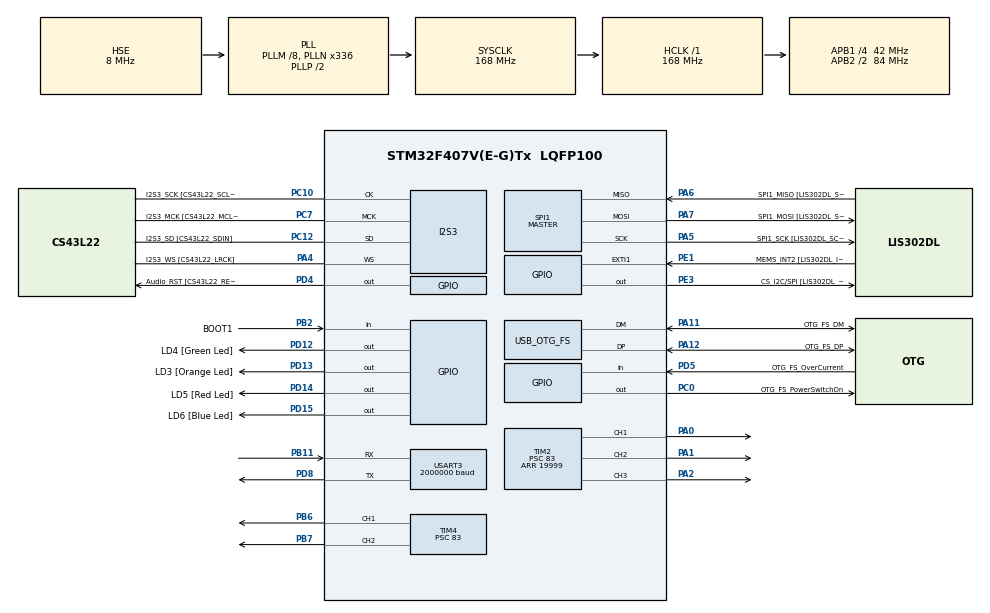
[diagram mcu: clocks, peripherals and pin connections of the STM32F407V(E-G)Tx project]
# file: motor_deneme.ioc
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I2S3.AudioFreq-Half_Duplex_Master=I2S_AUDIOFREQ_96K
I2S3.ErrorAudioFreq=-2.34 %
I2S3.ErrorAudioFreq-Half_Duplex_Master=0.8 %
I2S3.FullDuplexMode=I2S_FULLDUPLEXMODE_DISABLE
I2S3.Instance=SPI$Index
I2S3.RealAudioFreq=93.75 KHz
I2S3.RealAudioFreq-Half_Duplex_Master=96.774 KHz
I2S3.VirtualMode=I2S_MODE_MASTER
Mcu.Family=STM32F4
Mcu.Name=STM32F407V(E-G)Tx
Mcu.Package=LQFP100
NVIC.OTG_FS_IRQn=true\:0\:0\:false\:false\:true\:true\:true\:true
NVIC.PriorityGroup=NVIC_PRIORITYGROUP_0
NVIC.USART3_IRQn=true\:0\:0\:false\:false\:true\:true\:true\:true
PA0-WKUP.Signal=S_TIM2_CH1_ETR
PA1.Signal=S_TIM2_CH2
PA10.GPIO_Label=OTG_FS_ID
PA10.GPIO_Mode=GPIO_MODE_AF_PP
PA10.GPIO_PuPd=GPIO_NOPULL
PA10.GPIO_Speed=GPIO_SPEED_FREQ_LOW
PA10.Signal=USB_OTG_FS_ID
PA11.GPIO_Label=OTG_FS_DM
PA11.GPIO_Mode=GPIO_MODE_AF_PP
PA11.GPIO_PuPd=GPIO_NOPULL
PA11.GPIO_Speed=GPIO_SPEED_FREQ_LOW
PA11.Mode=Device_Only
PA11.Signal=USB_OTG_FS_DM
PA12.GPIO_Label=OTG_FS_DP
PA12.GPIO_Mode=GPIO_MODE_AF_PP
PA12.GPIO_PuPd=GPIO_NOPULL
PA12.GPIO_Speed=GPIO_SPEED_FREQ_LOW
PA12.Mode=Device_Only
PA12.Signal=USB_OTG_FS_DP
PA13.GPIO_Label=SWDIO
PA13.Mode=Serial_Wire
PA13.Signal=SYS_JTMS-SWDIO
PA14.GPIO_Label=SWCLK
PA14.Mode=Serial_Wire
PA14.Signal=SYS_JTCK-SWCLK
PA2.Signal=S_TIM2_CH3
PA4.GPIO_Label=I2S3_WS [CS43L22_LRCK]
PA4.GPIO_Mode=GPIO_MODE_AF_PP
PA4.GPIO_PuPd=GPIO_NOPULL
PA4.GPIO_Speed=GPIO_SPEED_FREQ_LOW
PA4.Mode=Half_Duplex_Master
PA4.Signal=I2S3_WS
PA5.GPIO_Label=SPI1_SCK [LIS302DL_SCL/SPC]
PA5.GPIO_Mode=GPIO_MODE_AF_PP
PA5.GPIO_PuPd=GPIO_NOPULL
PA5.GPIO_Speed=GPIO_SPEED_FREQ_LOW
PA5.Mode=Full_Duplex_Master
PA5.Signal=SPI1_SCK
PA6.GPIO_Label=SPI1_MISO [LIS302DL_SDO]
PA6.GPIO_Mode=GPIO_MODE_AF_PP
PA6.GPIO_PuPd=GPIO_NOPULL
PA6.GPIO_Speed=GPIO_SPEED_FREQ_LOW
PA6.Mode=Full_Duplex_Master
PA6.Signal=SPI1_MISO
PA7.GPIO_Label=SPI1_MOSI [LIS302DL_SDA/SDI/SDO]
PA7.GPIO_Mode=GPIO_MODE_AF_PP
PA7.GPIO_PuPd=GPIO_NOPULL
PA7.GPIO_Speed=GPIO_SPEED_FREQ_LOW
PA7.Mode=Full_Duplex_Master
PA7.Signal=SPI1_MOSI
PA9.GPIO_Label=VBUS_FS
PA9.GPIO_Mode=GPIO_MODE_INPUT
PA9.GPIO_PuPd=GPIO_NOPULL
PA9.Signal=USB_OTG_FS_VBUS
PB10.GPIO_Label=CLK_IN [MP45DT02_CLK]
PB10.GPIO_Mode=GPIO_MODE_AF_PP
PB10.GPIO_PuPd=GPIO_NOPULL
PB10.GPIO_Speed=GPIO_SPEED_FREQ_LOW
PB10.Signal=I2S2_CK
PB11.Mode=Asynchronous
PB11.Signal=USART3_RX
PB2.GPIO_Label=BOOT1
PB2.GPIO_Mode=GPIO_MODE_INPUT
PB2.GPIO_PuPd=GPIO_NOPULL
PB2.Signal=GPIO_Input
PB3.GPIO_Label=SWO
PB3.Signal=SYS_JTDO-SWO
PB6.Signal=S_TIM4_CH1
PB7.Signal=S_TIM4_CH2
PB9.GPIO_Label=Audio_SDA [CS43L22_SDA]
PB9.GPIO_Mode=GPIO_MODE_AF_OD
PB9.GPIO_Pu=GPIO_PULLUP
PB9.GPIO_PuPd=GPIO_NOPULL
PB9.GPIO_Speed=GPIO_SPEED_FREQ_LOW
PB9.Signal=I2C1_SDA
PC0.GPIO_Label=OTG_FS_PowerSwitchOn
PC0.GPIO_PuPd=GPIO_NOPULL
PC0.GPIO_Speed=GPIO_SPEED_FREQ_LOW
PC0.PinState=GPIO_PIN_SET
PC0.Signal=GPIO_Output
PC10.GPIO_Label=I2S3_SCK [CS43L22_SCLK]
PC10.GPIO_Mode=GPIO_MODE_AF_PP
PC10.GPIO_PuPd=GPIO_NOPULL
PC10.GPIO_Speed=GPIO_SPEED_FREQ_LOW
PC10.Mode=Half_Duplex_Master
PC10.Signal=I2S3_CK
PC12.GPIO_Label=I2S3_SD [CS43L22_SDIN]
PC12.GPIO_Mode=GPIO_MODE_AF_PP
PC12.GPIO_PuPd=GPIO_NOPULL
PC12.GPIO_Speed=GPIO_SPEED_FREQ_LOW
PC12.Mode=Half_Duplex_Master
PC12.Signal=I2S3_SD
PC14-OSC32_IN.GPIO_Label=PC14-OSC32_IN
PC14-OSC32_IN.Mode=LSE-External-Oscillator
PC14-OSC32_IN.Signal=RCC_OSC32_IN
PC15-OSC32_OUT.GPIO_Label=PC15-OSC32_OUT
PC15-OSC32_OUT.Mode=LSE-External-Oscillator
PC15-OSC32_OUT.Signal=RCC_OSC32_OUT
PC3.GPIO_Label=PDM_OUT [MP45DT02_DOUT]
PC3.GPIO_Mode=GPIO_MODE_AF_PP
PC3.GPIO_PuPd=GPIO_NOPULL
PC3.GPIO_Speed=GPIO_SPEED_FREQ_LOW
PC3.Signal=I2S2_SD
PC7.GPIO_Label=I2S3_MCK [CS43L22_MCLK]
PC7.GPIO_Mode=GPIO_MODE_AF_PP
PC7.GPIO_PuPd=GPIO_NOPULL
PC7.GPIO_Speed=GPIO_SPEED_FREQ_LOW
PC7.Mode=Master_Clock_Activated
PC7.Signal=I2S3_MCK
PD12.GPIO_Label=LD4 [Green Led]
PD12.GPIO_PuPd=GPIO_NOPULL
PD12.GPIO_Speed=GPIO_SPEED_FREQ_LOW
PD12.Signal=GPIO_Output
PD13.GPIO_Label=LD3 [Orange Led]
PD13.GPIO_PuPd=GPIO_NOPULL
PD13.GPIO_Speed=GPIO_SPEED_FREQ_LOW
PD13.Signal=GPIO_Output
PD14.GPIO_Label=LD5 [Red Led]
PD14.GPIO_PuPd=GPIO_NOPULL
PD14.GPIO_Speed=GPIO_SPEED_FREQ_LOW
PD14.Signal=GPIO_Output
PD15.GPIO_Label=LD6 [Blue Led]
PD15.GPIO_PuPd=GPIO_NOPULL
PD15.GPIO_Speed=GPIO_SPEED_FREQ_LOW
PD15.Signal=GPIO_Output
PD4.GPIO_Label=Audio_RST [CS43L22_RESET]
PD4.GPIO_PuPd=GPIO_NOPULL
PD4.GPIO_Speed=GPIO_SPEED_FREQ_LOW
PD4.Signal=GPIO_Output
PD5.GPIO_Label=OTG_FS_OverCurrent
PD5.GPIO_Mode=GPIO_MODE_INPUT
PD5.GPIO_PuPd=GPIO_NOPULL
PD5.Signal=GPIO_Input
PD8.Mode=Asynchronous
PD8.Signal=USART3_TX
PE1.GPIO_Label=MEMS_INT2 [LIS302DL_INT2]
PE1.GPIO_ModeDefaultEXTI=GPIO_MODE_EVT_RISING
PE1.GPIO_PuPd=GPIO_NOPULL
PE1.Signal=GPXTI1
PE3.GPIO_Label=CS_I2C/SPI [LIS302DL_CS_I2C/SPI]
PE3.GPIO_PuPd=GPIO_NOPULL
PE3.GPIO_Speed=GPIO_SPEED_FREQ_LOW
PE3.Signal=GPIO_Output
PH0-OSC_IN.GPIO_Label=PH0-OSC_IN
PH0-OSC_IN.Mode=HSE-External-Oscillator
PH0-OSC_IN.Signal=RCC_OSC_IN
PH1-OSC_OUT.GPIO_Label=PH1-OSC_OUT
PH1-OSC_OUT.Mode=HSE-External-Oscillator
PH1-OSC_OUT.Signal=RCC_OSC_OUT
ProjectManager.HeapSize=0x4000
ProjectManager.StackSize=0x800
ProjectManager.TargetToolchain=STM32CubeIDE
RCC.48MHZClocksFreq_Value=48000000
RCC.AHBFreq_Value=168000000
RCC.APB1CLKDivider=RCC_HCLK_DIV4
RCC.APB1Freq_Value=42000000
RCC.APB1TimFreq_Value=84000000
RCC.APB2CLKDivider=RCC_HCLK_DIV2
RCC.APB2Freq_Value=84000000
RCC.APB2TimFreq_Value=168000000
RCC.CortexFreq_Value=168000000
RCC.HCLKFreq_Value=168000000
RCC.HSE_VALUE=8000000
RCC.HSI_VALUE=16000000
RCC.PLLM=8
RCC.PLLN=336
RCC.PLLQ=7
RCC.SYSCLKFreq_VALUE=168000000
RCC.SYSCLKSource=RCC_SYSCLKSOURCE_PLLCLK
RCC.VCOOutputFreq_Value=336000000
SH.S_TIM2_CH1_ETR.0=TIM2_CH1,PWM Generation1 CH1
SH.S_TIM2_CH2.0=TIM2_CH2,PWM Generation2 CH2
SH.S_TIM2_CH3.0=TIM2_CH3,PWM Generation3 CH3
SH.S_TIM4_CH1.0=TIM4_CH1,PWM Generation1 CH1
SH.S_TIM4_CH2.0=TIM4_CH2,PWM Generation2 CH2
SPI1.BaudRatePrescaler-Full_Duplex_Master=SPI_BAUDRATEPRESCALER_2
SPI1.CalculateBaudRate-Full_Duplex_Master=42.0 MBits/s
SPI1.Direction=SPI_DIRECTION_2LINES
SPI1.Mode=SPI_MODE_MASTER
SPI1.Mode-Full_Duplex_Master=SPI_MODE_MASTER
SPI1.VirtualType=VM_MASTER
STMicroelectronics.X-CUBE-AI.10.2.0.ActivationBufferSizeList=27412
STMicroelectronics.X-CUBE-AI.10.2.0.ActivationBuffers=pool0
STMicroelectronics.X-CUBE-AI.10.2.0.ActivationNames=pool0
STMicroelectronics.X-CUBE-AI.10.2.0.ActivationSizes=AI_YUZMODEL_DATA_ACTIVATION_1_SIZE
STMicroelectronics.X-CUBE-AI.10.2.0.HeapSize=0x4000
STMicroelectronics.X-CUBE-AI.10.2.0.InternalRamActivationBufferMaxSize=AI_YUZMODEL_DATA_ACTIVATIONS_SIZE
STMicroelectronics.X-CUBE-AI.10.2.0.LatestDirectoryUsed-f014132b497c35ad384f7facde893638db3048d57b4c16b318305008997cb684=C\:\\Users\\yavuz\\Downloads
STMicroelectronics.X-CUBE-AI.10.2.0.MaximumNumberOfInputLayer=1
STMicroelectronics.X-CUBE-AI.10.2.0.MaximumNumberOfOutputLayer=1
STMicroelectronics.X-CUBE-AI.10.2.0.MaximumSizeOfInputLayer=1
STMicroelectronics.X-CUBE-AI.10.2.0.MaximumSizeOfOutputLayer=1,1
STMicroelectronics.X-CUBE-AI.10.2.0.ModelActualCompression-f014132b497c35ad384f7facde893638db3048d57b4c16b318305008997cb684=0.0
STMicroelectronics.X-CUBE-AI.10.2.0.ModelCompression-f014132b497c35ad384f7facde893638db3048d57b4c16b318305008997cb684=None
STMicroelectronics.X-CUBE-AI.10.2.0.ModelFlashOccupation-f014132b497c35ad384f7facde893638db3048d57b4c16b318305008997cb684=42974
STMicroelectronics.X-CUBE-AI.10.2.0.ModelHashList=f014132b497c35ad384f7facde893638db3048d57b4c16b318305008997cb684
STMicroelectronics.X-CUBE-AI.10.2.0.ModelKind-f014132b497c35ad384f7facde893638db3048d57b4c16b318305008997cb684=TFLITE
STMicroelectronics.X-CUBE-AI.10.2.0.ModelMacc-f014132b497c35ad384f7facde893638db3048d57b4c16b318305008997cb684=4095162
STMicroelectronics.X-CUBE-AI.10.2.0.ModelName-f014132b497c35ad384f7facde893638db3048d57b4c16b318305008997cb684=yuzmodel
STMicroelectronics.X-CUBE-AI.10.2.0.ModelNameList=yuzmodel
STMicroelectronics.X-CUBE-AI.10.2.0.ModelRamOccupation-f014132b497c35ad384f7facde893638db3048d57b4c16b318305008997cb684=27412
STMicroelectronics.X-CUBE-AI.10.2.0.ModelStructureFile-f014132b497c35ad384f7facde893638db3048d57b4c16b318305008997cb684=C\:\\Users\\yavuz\\Downloads\\yuz_takip_modeli (1).tflite
STMicroelectronics.X-CUBE-AI.10.2.0.ModelType-f014132b497c35ad384f7facde893638db3048d57b4c16b318305008997cb684=STM32Cube.AI MCU runtime
STMicroelectronics.X-CUBE-AI.10.2.0.ReadyForCodeGeneration=true
STMicroelectronics.X-CUBE-AI.10.2.0.StackSize=0x800
STMicroelectronics.X-CUBE-AI.10.2.0.WorkingBufferStartAddrList=0xFFFFFFFF
STMicroelectronics.X-CUBE-AI.10.2.0.XAaCUBEAaAICcArtificialOoIntelligenceJjCore=true
STMicroelectronics.X-CUBE-AI.10.2.0.copyWeightToRam=false
STMicroelectronics.X-CUBE-AI.10.2.0.customLayerConfigEnabled=false
STMicroelectronics.X-CUBE-AI.10.2.0.noOnnxIoTranspose=false
STMicroelectronics.X-CUBE-AI.10.2.0.useInputAllocation=true
STMicroelectronics.X-CUBE-AI.10.2.0.useOutputAllocation=true
TIM2.Channel-PWM\ Generation1\ CH1=TIM_CHANNEL_1
TIM2.Channel-PWM\ Generation2\ CH2=TIM_CHANNEL_2
TIM2.Channel-PWM\ Generation3\ CH3=TIM_CHANNEL_3
TIM2.Period=19999
TIM2.Prescaler=83
TIM4.Channel-PWM\ Generation1\ CH1=TIM_CHANNEL_1
TIM4.Channel-PWM\ Generation2\ CH2=TIM_CHANNEL_2
TIM4.Prescaler=83
USART3.BaudRate=2000000
USART3.VirtualMode=VM_ASYNC
USB_DEVICE.CLASS_NAME_FS=CDC
USB_DEVICE.VirtualMode-CDC_FS=Cdc
USB_DEVICE.VirtualModeFS=Cdc_FS
USB_OTG_FS.VirtualMode=Device_Only
VP_STMicroelectronics.X-CUBE-AI_VS_ArtificialOoIntelligenceJjXAaCUBEAaAI_10.2.0.Mode=ArtificialOoIntelligenceJjXAaCUBEAaAI
VP_TIM2_VS_ClockSourceINT.Mode=Internal
VP_TIM4_VS_ClockSourceINT.Mode=Internal
VP_USB_DEVICE_VS_USB_DEVICE_CDC_FS.Mode=CDC_FS
board=STM32F407G-DISC1

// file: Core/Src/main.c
/* USER CODE BEGIN Header */
/**
  ******************************************************************************
  * @file           : main.c
  * @brief          : Main program body for 3-Axis Face-Tracking Gimbal
  * @author         : Yavuzhan Melek
  * @description    : Implements a closed-loop face tracking system. Detects a
  *                   human face (via ESP32-CAM) and calculates center coordinates.
  *                   Determines positional error relative to the camera's center
  *                   point. Uses PWM signals to autonomously drive servo motors
  *                   to minimize error, continuously keeping the face centered.
  ******************************************************************************
  * @attention
  *
  * Copyright (c) 2026 STMicroelectronics.
  * All rights reserved.
  *
  ******************************************************************************
  */
/* USER CODE END Header */
#include "main.h"
#include "usb_device.h"

/* USER CODE BEGIN Includes */
#include <stdio.h>
#include <string.h>
#include "usbd_cdc_if.h" // For transmitting debugging data via USB

// Edge AI Model includes (Ensure model name matches the generated AI files)
#include "ai_platform.h"
#include "yuzmodel.h"
#include "yuzmodel_data.h"
/* USER CODE END Includes */

I2S_HandleTypeDef hi2s3;
SPI_HandleTypeDef hspi1;
TIM_HandleTypeDef htim2;
TIM_HandleTypeDef htim4;
UART_HandleTypeDef huart3;

/* USER CODE BEGIN PV */
uint8_t size_buffer[4]; // Buffer for UART payload size (4 bytes)

// 96x96x1 grayscale image buffer (No volatile needed as it's not modified inside ISR)
static uint8_t image_buffer[9216];

uint8_t sync_byte = 0;
uint32_t loop_counter = 0;

// AI Model Variables
ai_handle yuzmodel = AI_HANDLE_NULL;
ai_network_report report;
ai_error err;

// Model is INT8 quantized to fit RAM constraints. Inputs/Outputs must be ai_i8.
static ai_u8 activations[AI_YUZMODEL_DATA_ACTIVATIONS_SIZE];
static ai_i8 in_data[AI_YUZMODEL_IN_1_SIZE_BYTES];

// Output buffer is sized for two distinct outputs (Coordinates and Probability)
static ai_i8 out_data_int8[AI_YUZMODEL_OUT_1_SIZE_BYTES + AI_YUZMODEL_OUT_2_SIZE_BYTES];

// AI buffers definition (initialized in main)
ai_buffer ai_input[AI_YUZMODEL_IN_NUM];
ai_buffer ai_output[AI_YUZMODEL_OUT_NUM];

// --- Servo Configuration ---
// TIM2: Prescaler=83, Period=19999 -> 50Hz PWM, 1 tick = 1us
#define SERVO_MIN_US   500    // 0 degrees
#define SERVO_MAX_US   2500   // 180 degrees
#define SERVO_MID_US   1500   // 90 degrees (center)

// Smoothing alpha (0.0-1.0). Lower means smoother/slower movement.
#define SMOOTH_ALPHA   0.15f

// Target center in the frame (0.5, 0.5) - model outputs coordinates between 0.0-1.0
#define TARGET_CX      0.5f
#define TARGET_CY      0.5f

// Deadzone to prevent servo jitter when error is very small
#define DEADZONE       0.03f

// Current servo positions in microseconds
static float servo_x_us = SERVO_MID_US;
static float servo_y_us = 300.0f;
/* USER CODE END PV */

void SystemClock_Config(void);
static void MX_GPIO_Init(void);
static void MX_I2S3_Init(void);
static void MX_SPI1_Init(void);
static void MX_TIM2_Init(void);
static void MX_TIM4_Init(void);
static void MX_USART3_UART_Init(void);
/* USER CODE BEGIN PFP */

// --- Helper: Float Clamp ---
static inline float clamp_f(float v, float lo, float hi) {
    if (v < lo) return lo;
    if (v > hi) return hi;
    return v;
}

// --- Convert normalized coordinate to servo PWM (us) ---
// norm: 0.0 (top/left) -> 1.0 (bottom/right)
// invert: set to 1 to reverse axis direction
static float coord_to_us(float norm, uint8_t invert) {
    if (invert) norm = 1.0f - norm;
    float us = SERVO_MIN_US + norm * (SERVO_MAX_US - SERVO_MIN_US);
    return clamp_f(us, SERVO_MIN_US, SERVO_MAX_US);
}

// --- Update Servo PWM ---
static void servo_set(float x_us, float y_us) {
    uint32_t x = (uint32_t)clamp_f(x_us, SERVO_MIN_US, SERVO_MAX_US);
    uint32_t y = (uint32_t)clamp_f(y_us, 0.0f, 700.0f);
    __HAL_TIM_SET_COMPARE(&htim2, TIM_CHANNEL_1, x);
    __HAL_TIM_SET_COMPARE(&htim2, TIM_CHANNEL_2, y);
}
/* USER CODE END PFP */

int main(void)
{
  /* MCU Configuration--------------------------------------------------------*/
  /* Reset of all peripherals, Initializes the Flash interface and the Systick. */
  HAL_Init();

  /* Configure the system clock */
  SystemClock_Config();

  /* Initialize all configured peripherals */
  MX_GPIO_Init();
  MX_I2S3_Init();
  MX_SPI1_Init();
  MX_TIM2_Init();
  MX_TIM4_Init();
  MX_USART3_UART_Init();
  MX_USB_DEVICE_Init();

  /* USER CODE BEGIN 2 */
  // --- Neural Network Initialization ---
  err = ai_yuzmodel_create(&yuzmodel, AI_YUZMODEL_DATA_CONFIG);
  if (err.type != AI_ERROR_NONE) {
      while(1) {}
  }

  ai_network_params params;
  if (!ai_yuzmodel_data_params_get(&params)) {
      while(1) {}
  }

  // Link activation buffer directly in this version
  AI_BUFFER_ARRAY_ITEM_SET_ADDRESS(&params.map_activations, 0, activations);

  // Initialize Model with parameters
  if (!ai_yuzmodel_init(yuzmodel, &params)) {
      while(1) {}
  }

  // Read Model Report/Metadata
  ai_yuzmodel_get_report(yuzmodel, &report);

  // Map Input/Output buffers
  ai_buffer* tmp_in  = ai_yuzmodel_inputs_get(yuzmodel, NULL);
  ai_buffer* tmp_out = ai_yuzmodel_outputs_get(yuzmodel, NULL);

  ai_input[0]  = *tmp_in;
  ai_input[0].data  = (ai_handle)in_data;

  ai_output[0] = tmp_out[0];
  ai_output[1] = tmp_out[1];

  ai_output[0].data = (ai_handle)out_data_int8;
  ai_output[1].data = (ai_handle)(out_data_int8 + AI_YUZMODEL_OUT_1_SIZE_BYTES);

  // --- Start Servo PWM (Center position) ---
  HAL_TIM_PWM_Start(&htim2, TIM_CHANNEL_1);  // X axis
  HAL_TIM_PWM_Start(&htim2, TIM_CHANNEL_2);  // Y axis
  servo_set(servo_x_us, servo_y_us);
  HAL_Delay(500); // Wait for servos to reach center
  /* USER CODE END 2 */

  /* Infinite loop */
  /* USER CODE BEGIN WHILE */
  while (1)
  {
      // 1. RESET UART LINE AT START OF EVERY LOOP
      // Clear UART error flags if an overrun occurs
      if (__HAL_UART_GET_FLAG(&huart3, UART_FLAG_ORE) != RESET) {
          __HAL_UART_CLEAR_OREFLAG(&huart3);
          HAL_UART_AbortReceive(&huart3);
      }

      uint8_t sync_buf[4] = {0};
      uint8_t b = 0;
      uint8_t found = 0;
      uint32_t gray_size = 0;

      // Await synchronization sequence (0xAA 0xBB 0xCC 0xDD)
      for (int attempt = 0; attempt < 20000; attempt++) {
          if (HAL_UART_Receive(&huart3, &b, 1, 2) != HAL_OK) continue;
          sync_buf[0] = sync_buf[1];
          sync_buf[1] = sync_buf[2];
          sync_buf[2] = sync_buf[3];
          sync_buf[3] = b;
          if (sync_buf[0]==0xAA && sync_buf[1]==0xBB &&
              sync_buf[2]==0xCC && sync_buf[3]==0xDD) {
              found = 1;
              break;
          }
      }

      if (found) {
          uint8_t size_buf[4];
          if (HAL_UART_Receive(&huart3, size_buf, 4, 100) == HAL_OK) {
              gray_size = size_buf[0] | (size_buf[1]<<8) |
                          (size_buf[2]<<16) | (size_buf[3]<<24);

              if (gray_size == 9216) {  // 96x96x1 grayscale validation
                  if (HAL_UART_Receive(&huart3, image_buffer, gray_size, 250) == HAL_OK) {
                      loop_counter++;

                      // Target model's native input type (ai_i8)
                      ai_i8* model_input_ptr = (ai_i8*)in_data;

                      for(int i = 0; i < 9216; i++) {
                          // Convert uint8 (0-255) to int8 (-128 to 127) for quantization
                          model_input_ptr[i] = (ai_i8)(image_buffer[i] - 128);
                      }

                      if (ai_yuzmodel_run(yuzmodel, ai_input, ai_output) > 0) {
                          // --- Output Group 1: Coordinates and Probability ---
                          ai_i8 raw_cx = ((ai_i8*)ai_output[0].data)[0];
                          ai_i8 raw_cy = ((ai_i8*)ai_output[0].data)[1];
                          ai_i8 raw_prob = ((ai_i8*)ai_output[1].data)[0];

                          if (raw_prob >= 120) {
                              // Values >= 120 indicate high confidence. Face successfully detected.
                              HAL_GPIO_WritePin(GPIOD, GPIO_PIN_13, GPIO_PIN_SET); // Turn on indicator LED

                              // int8 -> 0.0-1.0 normalization mapping
                              float cx = ((float)raw_cx - (-70.0f)) / (10.0f - (-70.0f));
                              cx = cx < 0.0f ? 0.0f : (cx > 1.0f ? 1.0f : cx);

                              float cy = ((float)raw_cy - (-80.0f)) / (-10.0f - (-80.0f));
                              cy = cy < 0.0f ? 0.0f : (cy > 1.0f ? 1.0f : cy);

                              // Distance from center (Error Calculation)
                              float cx_m = 1.0f - cx;
                              float err_x = cx_m - TARGET_CX;
                              float err_y = cy  - TARGET_CY;

                              // Deadzone: Ignore minor errors to prevent jitter
                              if (err_x > -DEADZONE && err_x < DEADZONE) err_x = 0.0f;
                              if (err_y > -DEADZONE && err_y < DEADZONE) err_y = 0.0f;

                              // Proportional step from current position
                              // Note: Invert sign for X axis if motor is mounted backwards
                              float step_x = -err_x * (SERVO_MAX_US - SERVO_MIN_US) * SMOOTH_ALPHA;
                              float step_y = err_y * (700.0f - 0.0f) * SMOOTH_ALPHA;

                              servo_x_us = clamp_f(servo_x_us + step_x, SERVO_MIN_US, SERVO_MAX_US);
                              servo_y_us = clamp_f(servo_y_us + step_y, 0.0f, 700.0f);

                              servo_set(servo_x_us, servo_y_us);
                              send_debug(raw_cx, raw_cy, raw_prob, cx, cy);

                          } else {
                              // Turn off LED if no face is detected confidently
                              HAL_GPIO_WritePin(GPIOD, GPIO_PIN_13, GPIO_PIN_RESET);
                          }
                      }
                  }
              } else {
                  HAL_UART_AbortReceive(&huart3);
              }
          }
      }
  }
  /* USER CODE END WHILE */

}

void SystemClock_Config(void)
{
  RCC_OscInitTypeDef RCC_OscInitStruct = {0};
  RCC_ClkInitTypeDef RCC_ClkInitStruct = {0};

  __HAL_RCC_PWR_CLK_ENABLE();
  __HAL_PWR_VOLTAGESCALING_CONFIG(PWR_REGULATOR_VOLTAGE_SCALE1);

  RCC_OscInitStruct.OscillatorType = RCC_OSCILLATORTYPE_HSE;
  RCC_OscInitStruct.HSEState = RCC_HSE_ON;
  RCC_OscInitStruct.PLL.PLLState = RCC_PLL_ON;
  RCC_OscInitStruct.PLL.PLLSource = RCC_PLLSOURCE_HSE;
  RCC_OscInitStruct.PLL.PLLM = 8;
  RCC_OscInitStruct.PLL.PLLN = 336;
  RCC_OscInitStruct.PLL.PLLP = RCC_PLLP_DIV2;
  RCC_OscInitStruct.PLL.PLLQ = 7;
  if (HAL_RCC_OscConfig(&RCC_OscInitStruct) != HAL_OK)
  {
    Error_Handler();
  }

  RCC_ClkInitStruct.ClockType = RCC_CLOCKTYPE_HCLK|RCC_CLOCKTYPE_SYSCLK
                              |RCC_CLOCKTYPE_PCLK1|RCC_CLOCKTYPE_PCLK2;
  RCC_ClkInitStruct.SYSCLKSource = RCC_SYSCLKSOURCE_PLLCLK;
  RCC_ClkInitStruct.AHBCLKDivider = RCC_SYSCLK_DIV1;
  RCC_ClkInitStruct.APB1CLKDivider = RCC_HCLK_DIV4;
  RCC_ClkInitStruct.APB2CLKDivider = RCC_HCLK_DIV2;

  if (HAL_RCC_ClockConfig(&RCC_ClkInitStruct, FLASH_LATENCY_5) != HAL_OK)
  {
    Error_Handler();
  }
}

static void MX_I2S3_Init(void)
{
  hi2s3.Instance = SPI3;
  hi2s3.Init.Mode = I2S_MODE_MASTER_TX;
  hi2s3.Init.Standard = I2S_STANDARD_PHILIPS;
  hi2s3.Init.DataFormat = I2S_DATAFORMAT_16B;
  hi2s3.Init.MCLKOutput = I2S_MCLKOUTPUT_ENABLE;
  hi2s3.Init.AudioFreq = I2S_AUDIOFREQ_96K;
  hi2s3.Init.CPOL = I2S_CPOL_LOW;
  hi2s3.Init.ClockSource = I2S_CLOCK_PLL;
  hi2s3.Init.FullDuplexMode = I2S_FULLDUPLEXMODE_DISABLE;
  if (HAL_I2S_Init(&hi2s3) != HAL_OK)
  {
    Error_Handler();
  }
}

static void MX_SPI1_Init(void)
{
  hspi1.Instance = SPI1;
  hspi1.Init.Mode = SPI_MODE_MASTER;
  hspi1.Init.Direction = SPI_DIRECTION_2LINES;
  hspi1.Init.DataSize = SPI_DATASIZE_8BIT;
  hspi1.Init.CLKPolarity = SPI_POLARITY_LOW;
  hspi1.Init.CLKPhase = SPI_PHASE_1EDGE;
  hspi1.Init.NSS = SPI_NSS_SOFT;
  hspi1.Init.BaudRatePrescaler = SPI_BAUDRATEPRESCALER_2;
  hspi1.Init.FirstBit = SPI_FIRSTBIT_MSB;
  hspi1.Init.TIMode = SPI_TIMODE_DISABLE;
  hspi1.Init.CRCCalculation = SPI_CRCCALCULATION_DISABLE;
  hspi1.Init.CRCPolynomial = 10;
  if (HAL_SPI_Init(&hspi1) != HAL_OK)
  {
    Error_Handler();
  }
}

static void MX_TIM2_Init(void)
{
  TIM_ClockConfigTypeDef sClockSourceConfig = {0};
  TIM_MasterConfigTypeDef sMasterConfig = {0};
  TIM_OC_InitTypeDef sConfigOC = {0};

  htim2.Instance = TIM2;
  htim2.Init.Prescaler = 83;
  htim2.Init.CounterMode = TIM_COUNTERMODE_UP;
  htim2.Init.Period = 19999;
  htim2.Init.ClockDivision = TIM_CLOCKDIVISION_DIV1;
  htim2.Init.AutoReloadPreload = TIM_AUTORELOAD_PRELOAD_DISABLE;
  if (HAL_TIM_Base_Init(&htim2) != HAL_OK)
  {
    Error_Handler();
  }
  sClockSourceConfig.ClockSource = TIM_CLOCKSOURCE_INTERNAL;
  if (HAL_TIM_ConfigClockSource(&htim2, &sClockSourceConfig) != HAL_OK)
  {
    Error_Handler();
  }
  if (HAL_TIM_PWM_Init(&htim2) != HAL_OK)
  {
    Error_Handler();
  }
  sMasterConfig.MasterOutputTrigger = TIM_TRGO_RESET;
  sMasterConfig.MasterSlaveMode = TIM_MASTERSLAVEMODE_DISABLE;
  if (HAL_TIMEx_MasterConfigSynchronization(&htim2, &sMasterConfig) != HAL_OK)
  {
    Error_Handler();
  }
  sConfigOC.OCMode = TIM_OCMODE_PWM1;
  sConfigOC.Pulse = 0;
  sConfigOC.OCPolarity = TIM_OCPOLARITY_HIGH;
  sConfigOC.OCFastMode = TIM_OCFAST_DISABLE;
  if (HAL_TIM_PWM_ConfigChannel(&htim2, &sConfigOC, TIM_CHANNEL_1) != HAL_OK)
  {
    Error_Handler();
  }
  if (HAL_TIM_PWM_ConfigChannel(&htim2, &sConfigOC, TIM_CHANNEL_2) != HAL_OK)
  {
    Error_Handler();
  }
  if (HAL_TIM_PWM_ConfigChannel(&htim2, &sConfigOC, TIM_CHANNEL_3) != HAL_OK)
  {
    Error_Handler();
  }
  HAL_TIM_MspPostInit(&htim2);
}

static void MX_TIM4_Init(void)
{
  TIM_ClockConfigTypeDef sClockSourceConfig = {0};
  TIM_MasterConfigTypeDef sMasterConfig = {0};
  TIM_OC_InitTypeDef sConfigOC = {0};

  htim4.Instance = TIM4;
  htim4.Init.Prescaler = 83;
  htim4.Init.CounterMode = TIM_COUNTERMODE_UP;
  htim4.Init.Period = 65535;
  htim4.Init.ClockDivision = TIM_CLOCKDIVISION_DIV1;
  htim4.Init.AutoReloadPreload = TIM_AUTORELOAD_PRELOAD_DISABLE;
  if (HAL_TIM_Base_Init(&htim4) != HAL_OK)
  {
    Error_Handler();
  }
  sClockSourceConfig.ClockSource = TIM_CLOCKSOURCE_INTERNAL;
  if (HAL_TIM_ConfigClockSource(&htim4, &sClockSourceConfig) != HAL_OK)
  {
    Error_Handler();
  }
  if (HAL_TIM_PWM_Init(&htim4) != HAL_OK)
  {
    Error_Handler();
  }
  sMasterConfig.MasterOutputTrigger = TIM_TRGO_RESET;
  sMasterConfig.MasterSlaveMode = TIM_MASTERSLAVEMODE_DISABLE;
  if (HAL_TIMEx_MasterConfigSynchronization(&htim4, &sMasterConfig) != HAL_OK)
  {
    Error_Handler();
  }
  sConfigOC.OCMode = TIM_OCMODE_PWM1;
  sConfigOC.Pulse = 0;
  sConfigOC.OCPolarity = TIM_OCPOLARITY_HIGH;
  sConfigOC.OCFastMode = TIM_OCFAST_DISABLE;
  if (HAL_TIM_PWM_ConfigChannel(&htim4, &sConfigOC, TIM_CHANNEL_1) != HAL_OK)
  {
    Error_Handler();
  }
  if (HAL_TIM_PWM_ConfigChannel(&htim4, &sConfigOC, TIM_CHANNEL_2) != HAL_OK)
  {
    Error_Handler();
  }
  HAL_TIM_MspPostInit(&htim4);
}

static void MX_USART3_UART_Init(void)
{
  huart3.Instance = USART3;
  huart3.Init.BaudRate = 2000000;
  huart3.Init.WordLength = UART_WORDLENGTH_8B;
  huart3.Init.StopBits = UART_STOPBITS_1;
  huart3.Init.Parity = UART_PARITY_NONE;
  huart3.Init.Mode = UART_MODE_TX_RX;
  huart3.Init.HwFlowCtl = UART_HWCONTROL_NONE;
  huart3.Init.OverSampling = UART_OVERSAMPLING_16;
  if (HAL_UART_Init(&huart3) != HAL_OK)
  {
    Error_Handler();
  }
}

static void MX_GPIO_Init(void)
{
  GPIO_InitTypeDef GPIO_InitStruct = {0};

  /* GPIO Ports Clock Enable */
  __HAL_RCC_GPIOE_CLK_ENABLE();
  __HAL_RCC_GPIOC_CLK_ENABLE();
  __HAL_RCC_GPIOH_CLK_ENABLE();
  __HAL_RCC_GPIOA_CLK_ENABLE();
  __HAL_RCC_GPIOB_CLK_ENABLE();
  __HAL_RCC_GPIOD_CLK_ENABLE();

  /*Configure GPIO pin Output Level */
  HAL_GPIO_WritePin(CS_I2C_SPI_GPIO_Port, CS_I2C_SPI_Pin, GPIO_PIN_RESET);
  HAL_GPIO_WritePin(OTG_FS_PowerSwitchOn_GPIO_Port, OTG_FS_PowerSwitchOn_Pin, GPIO_PIN_SET);
  HAL_GPIO_WritePin(GPIOD, LD4_Pin|LD3_Pin|LD5_Pin|LD6_Pin|Audio_RST_Pin, GPIO_PIN_RESET);

  /*Configure GPIO pin : CS_I2C_SPI_Pin */
  GPIO_InitStruct.Pin = CS_I2C_SPI_Pin;
  GPIO_InitStruct.Mode = GPIO_MODE_OUTPUT_PP;
  GPIO_InitStruct.Pull = GPIO_NOPULL;
  GPIO_InitStruct.Speed = GPIO_SPEED_FREQ_LOW;
  HAL_GPIO_Init(CS_I2C_SPI_GPIO_Port, &GPIO_InitStruct);

  /*Configure GPIO pin : OTG_FS_PowerSwitchOn_Pin */
  GPIO_InitStruct.Pin = OTG_FS_PowerSwitchOn_Pin;
  GPIO_InitStruct.Mode = GPIO_MODE_OUTPUT_PP;
  GPIO_InitStruct.Pull = GPIO_NOPULL;
  GPIO_InitStruct.Speed = GPIO_SPEED_FREQ_LOW;
  HAL_GPIO_Init(OTG_FS_PowerSwitchOn_GPIO_Port, &GPIO_InitStruct);

  /*Configure GPIO pin : PDM_OUT_Pin */
  GPIO_InitStruct.Pin = PDM_OUT_Pin;
  GPIO_InitStruct.Mode = GPIO_MODE_AF_PP;
  GPIO_InitStruct.Pull = GPIO_NOPULL;
  GPIO_InitStruct.Speed = GPIO_SPEED_FREQ_LOW;
  GPIO_InitStruct.Alternate = GPIO_AF5_SPI2;
  HAL_GPIO_Init(PDM_OUT_GPIO_Port, &GPIO_InitStruct);

  /*Configure GPIO pin : BOOT1_Pin */
  GPIO_InitStruct.Pin = BOOT1_Pin;
  GPIO_InitStruct.Mode = GPIO_MODE_INPUT;
  GPIO_InitStruct.Pull = GPIO_NOPULL;
  HAL_GPIO_Init(BOOT1_GPIO_Port, &GPIO_InitStruct);

  /*Configure GPIO pin : CLK_IN_Pin */
  GPIO_InitStruct.Pin = CLK_IN_Pin;
  GPIO_InitStruct.Mode = GPIO_MODE_AF_PP;
  GPIO_InitStruct.Pull = GPIO_NOPULL;
  GPIO_InitStruct.Speed = GPIO_SPEED_FREQ_LOW;
  GPIO_InitStruct.Alternate = GPIO_AF5_SPI2;
  HAL_GPIO_Init(CLK_IN_GPIO_Port, &GPIO_InitStruct);

  /*Configure GPIO pins : LD4_Pin LD3_Pin LD5_Pin LD6_Pin Audio_RST_Pin */
  GPIO_InitStruct.Pin = LD4_Pin|LD3_Pin|LD5_Pin|LD6_Pin|Audio_RST_Pin;
  GPIO_InitStruct.Mode = GPIO_MODE_OUTPUT_PP;
  GPIO_InitStruct.Pull = GPIO_NOPULL;
  GPIO_InitStruct.Speed = GPIO_SPEED_FREQ_LOW;
  HAL_GPIO_Init(GPIOD, &GPIO_InitStruct);

  /*Configure GPIO pin : OTG_FS_OverCurrent_Pin */
  GPIO_InitStruct.Pin = OTG_FS_OverCurrent_Pin;
  GPIO_InitStruct.Mode = GPIO_MODE_INPUT;
  GPIO_InitStruct.Pull = GPIO_NOPULL;
  HAL_GPIO_Init(OTG_FS_OverCurrent_GPIO_Port, &GPIO_InitStruct);

  /*Configure GPIO pin : Audio_SDA_Pin */
  GPIO_InitStruct.Pin = Audio_SDA_Pin;
  GPIO_InitStruct.Mode = GPIO_MODE_AF_OD;
  GPIO_InitStruct.Pull = GPIO_PULLUP;
  GPIO_InitStruct.Speed = GPIO_SPEED_FREQ_LOW;
  GPIO_InitStruct.Alternate = GPIO_AF4_I2C1;
  HAL_GPIO_Init(Audio_SDA_GPIO_Port, &GPIO_InitStruct);

  /*Configure GPIO pin : MEMS_INT2_Pin */
  GPIO_InitStruct.Pin = MEMS_INT2_Pin;
  GPIO_InitStruct.Mode = GPIO_MODE_EVT_RISING;
  GPIO_InitStruct.Pull = GPIO_NOPULL;
  HAL_GPIO_Init(MEMS_INT2_GPIO_Port, &GPIO_InitStruct);
}

/* USER CODE BEGIN 4 */
void send_debug(ai_i8 raw_cx, ai_i8 raw_cy, ai_i8 raw_prob, float cx, float cy) {
    char buf[120];
    int cx_pct = (int)(cx * 100);
    int cy_pct = (int)(cy * 100);
    uint32_t cur_x = __HAL_TIM_GET_COMPARE(&htim2, TIM_CHANNEL_1);
    uint32_t cur_y = __HAL_TIM_GET_COMPARE(&htim2, TIM_CHANNEL_2);
    int len = snprintf(buf, sizeof(buf),
        "prob=%d cx_raw=%d cy_raw=%d cx=%d%% cy=%d%% x_us=%lu y_us=%lu\r\n",
        (int)raw_prob, (int)raw_cx, (int)raw_cy,
        cx_pct, cy_pct, cur_x, cur_y);
    CDC_Transmit_FS((uint8_t*)buf, len);
}
/* USER CODE END 4 */

void Error_Handler(void)
{
  __disable_irq();
  while (1)
  {
  }
}
